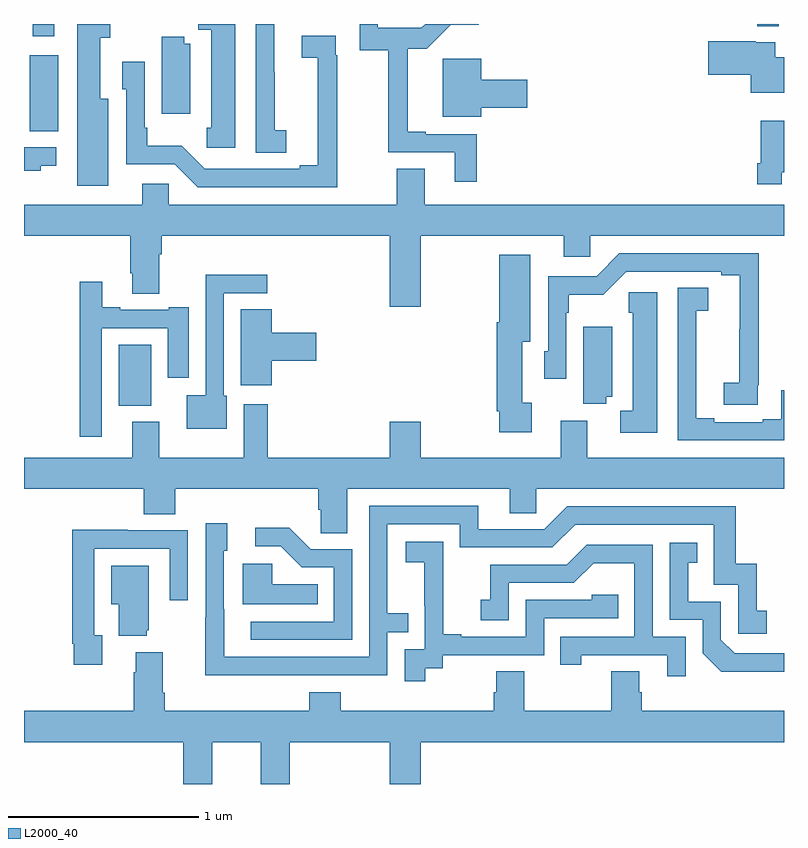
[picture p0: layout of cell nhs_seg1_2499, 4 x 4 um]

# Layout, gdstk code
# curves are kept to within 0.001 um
import gdstk
lib = gdstk.Library(unit=1e-6, precision=1e-09)
def R(c, l, rs):  # rectangles x0, y0, x1, y1
    for r in rs: c.add(gdstk.rectangle(r[:2], r[2:], *l))
def P(c, l, *ps):  # polygons
    for p in ps: c.add(gdstk.Polygon(p, *l))
L2000_40 = (2000, 40)

nhs_seg1_2499 = lib.new_cell('nhs_seg1_2499')
R(nhs_seg1_2499, L2000_40, [(247.499,532.19,247.669,532.51), (247.031,533.635,247.18,534.034), (247.046,534.135,247.159,534.199), (250.86,534.188,250.973,534.199)])
P(nhs_seg1_2499, L2000_40, [(249.383,533.619),(249.115,533.619),(249.115,533.632),(249.02,533.632),(249.02,534.069),(249.119,534.069),(249.245,534.194),(249.394,534.194),(249.394,534.199),(249.112,534.199),(249.091,534.178),(248.862,534.178),(248.862,534.199),(248.766,534.199),(248.766,534.061),(248.917,534.061),(248.917,533.523),(249.266,533.523),(249.266,533.37),(249.383,533.37)],
  [(248.38,533.641),(248.319,533.641),(248.319,533.945),(248.317,533.945),(248.317,534.199),(248.22,534.199),(248.22,533.521),(248.38,533.521)],
  [(247.444,533.806),(247.402,533.806),(247.402,534.127),(247.453,534.127),(247.453,534.199),(247.28,534.199),(247.28,533.349),(247.444,533.349)],
  [(248.113,534.199),(247.917,534.199),(247.917,534.168),(247.985,534.168),(247.985,533.652),(247.963,533.652),(247.963,533.547),(248.113,533.547)],
  [(248.648,534.035),(248.642,534.035),(248.642,534.137),(248.463,534.137),(248.463,534.022),(248.545,534.022),(248.546,533.456),(248.45,533.456),(248.45,533.436),(247.95,533.436),(247.829,533.557),(247.648,533.557),(247.648,533.653),(247.635,533.653),(247.635,534.001),(247.518,534.001),(247.518,533.856),(247.539,533.856),(247.539,533.46),(247.794,533.46),(247.914,533.34),(248.648,533.34)],
  [(247.876,534.094),(247.844,534.094),(247.844,534.131),(247.724,534.131),(247.724,533.727),(247.876,533.727)],
  [(251,534.025),(250.954,534.025),(250.954,534.103),(250.85,534.103),(250.85,534.108),(250.602,534.108),(250.602,533.933),(250.826,533.933),(250.826,533.837),(251,533.837)],
  [(249.406,533.759),(249.649,533.759),(249.649,533.906),(249.406,533.906),(249.406,534.016),(249.203,534.016),(249.203,533.711),(249.406,533.711)],
  [(250.987,533.42),(251,533.42),(251,533.689),(250.878,533.689),(250.878,533.467),(250.858,533.467),(250.858,533.355),(250.987,533.355)],
  [(247.089,533.453),(247.171,533.453),(247.171,533.55),(247,533.55),(247,533.426),(247.089,533.426)],
  [(249.088,533.084),(249.842,533.084),(249.842,532.974),(249.981,532.974),(249.981,533.084),(251,533.084),(251,533.248),(249.109,533.248),(249.109,533.438),(248.962,533.438),(248.962,533.248),(247.761,533.248),(247.761,533.358),(247.622,533.358),(247.622,533.248),(247,533.248),(247,533.084),(247.559,533.084),(247.559,532.888),(247.571,532.888),(247.571,532.78),(247.711,532.78),(247.711,532.988),(247.724,532.988),(247.724,533.084),(248.924,533.084),(248.924,532.71),(249.088,532.71)],
  [(250.862,532.297),(250.868,532.297),(250.868,532.992),(250.134,532.992),(250.014,532.872),(249.759,532.872),(249.759,532.476),(249.738,532.476),(249.738,532.332),(249.855,532.332),(249.855,532.679),(249.868,532.679),(249.868,532.775),(250.049,532.775),(250.17,532.896),(250.67,532.896),(250.67,532.876),(250.766,532.876),(250.765,532.31),(250.683,532.31),(250.683,532.195),(250.862,532.195)],
  [(249.673,532.206),(249.622,532.206),(249.622,532.526),(249.664,532.526),(249.664,532.984),(249.5,532.984),(249.5,532.63),(249.488,532.63),(249.488,532.162),(249.5,532.162),(249.5,532.05),(249.673,532.05)],
  [(248.068,532.242),(248.052,532.242),(248.052,532.782),(248.281,532.782),(248.281,532.88),(247.956,532.88),(247.956,532.246),(247.856,532.246),(247.856,532.07),(248.068,532.07)],
  [(247.41,532.599),(247.757,532.599),(247.757,532.338),(247.867,532.338),(247.867,532.708),(247.763,532.708),(247.763,532.695),(247.507,532.695),(247.507,532.708),(247.411,532.708),(247.411,532.843),(247.294,532.843),(247.294,532.026),(247.41,532.026)],
  [(251,532.271),(250.986,532.271),(250.986,532.118),(250.889,532.118),(250.889,532.104),(250.633,532.104),(250.633,532.124),(250.537,532.124),(250.537,532.387),(250.539,532.387),(250.539,532.691),(250.6,532.691),(250.6,532.811),(250.44,532.811),(250.44,532.008),(251,532.008)],
  [(250.333,532.786),(250.183,532.786),(250.183,532.68),(250.205,532.68),(250.205,532.164),(250.137,532.164),(250.137,532.049),(250.333,532.049)],
  [(248.303,532.427),(248.539,532.427),(248.539,532.574),(248.303,532.574),(248.303,532.697),(248.141,532.697),(248.141,532.299),(248.303,532.299)],
  [(250.064,532.238),(250.096,532.238),(250.096,532.606),(249.944,532.606),(249.944,532.201),(250.064,532.201)],
  [(248.701,531.752),(249.557,531.752),(249.557,531.625),(249.696,531.625),(249.696,531.752),(251,531.752),(251,531.916),(249.964,531.916),(249.964,532.111),(249.824,532.111),(249.824,531.916),(249.088,531.916),(249.088,532.105),(248.924,532.105),(248.924,531.916),(248.282,531.916),(248.282,532.198),(248.156,532.198),(248.156,531.916),(247.711,531.916),(247.711,532.105),(247.571,532.105),(247.571,531.916),(247,531.916),(247,531.752),(247.631,531.752),(247.631,531.619),(247.796,531.619),(247.796,531.752),(248.549,531.752),(248.549,531.643),(248.562,531.643),(248.562,531.52),(248.701,531.52)],
  [(248.417,530.772),(248.913,530.772),(248.913,530.997),(249.023,530.997),(249.023,531.098),(248.913,531.098),(248.913,531.567),(249.294,531.567),(249.294,531.444),(249.78,531.444),(249.9,531.564),(250.629,531.564),(250.629,531.249),(250.758,531.249),(250.758,530.991),(250.909,530.991),(250.909,531.111),(250.856,531.111),(250.856,531.358),(250.745,531.358),(250.745,531.66),(249.858,531.66),(249.738,531.54),(249.391,531.54),(249.391,531.663),(248.817,531.663),(248.817,530.868),(248.053,530.868),(248.052,531.426),(248.071,531.426),(248.071,531.571),(247.956,531.571),(247.956,531.077),(247.954,531.077),(247.954,530.771)],
  [(248.727,531.435),(248.508,531.435),(248.395,531.548),(248.217,531.548),(248.217,531.45),(248.351,531.45),(248.462,531.339),(248.631,531.339),(248.631,531.054),(248.193,531.054),(248.193,530.958),(248.727,530.958)],
  [(247.411,530.982),(247.371,530.982),(247.371,531.438),(247.767,531.438),(247.767,531.165),(247.863,531.165),(247.863,531.534),(247.547,531.534),(247.547,531.536),(247.255,531.536),(247.255,530.938),(247.263,530.938),(247.263,530.826),(247.411,530.826)],
  [(249.112,530.809),(249.204,530.809),(249.204,530.877),(249.738,530.877),(249.738,531.072),(250.127,531.072),(250.127,531.195),(249.987,531.195),(249.987,531.168),(249.642,531.168),(249.642,530.973),(249.301,530.973),(249.301,530.986),(249.206,530.986),(249.206,531.269),(249.207,531.269),(249.207,531.475),(249.009,531.475),(249.009,531.365),(249.107,531.365),(249.107,531.137),(249.108,531.137),(249.108,530.907),(249.003,530.907),(249.003,530.739),(249.112,530.739)],
  [(251,530.886),(250.74,530.886),(250.668,530.958),(250.668,531.159),(250.495,531.159),(250.495,531.363),(250.544,531.363),(250.544,531.469),(250.398,531.469),(250.398,531.063),(250.572,531.063),(250.572,530.886),(250.67,530.789),(251,530.789)],
  [(250.482,530.973),(250.308,530.973),(250.308,531.459),(249.962,531.459),(249.857,531.354),(249.454,531.354),(249.454,531.169),(249.405,531.169),(249.405,531.06),(249.552,531.06),(249.552,531.258),(249.894,531.258),(249.998,531.362),(250.212,531.362),(250.212,530.973),(249.823,530.973),(249.823,530.826),(249.934,530.826),(249.934,530.877),(250.385,530.877),(250.385,530.766),(250.482,530.766)],
  [(248.546,531.25),(248.307,531.25),(248.307,531.358),(248.15,531.358),(248.15,531.146),(248.546,531.146)],
  [(247.646,531.009),(247.657,531.009),(247.657,531.349),(247.46,531.349),(247.46,531.146),(247.499,531.146),(247.499,530.978),(247.646,530.978)],
  [(247.99,530.42),(248.246,530.42),(248.246,530.199),(248.399,530.199),(248.399,530.42),(248.924,530.42),(248.924,530.199),(249.088,530.199),(249.088,530.42),(251,530.42),(251,530.584),(250.25,530.584),(250.25,530.682),(250.237,530.682),(250.237,530.792),(250.09,530.792),(250.09,530.584),(249.633,530.584),(249.633,530.792),(249.485,530.792),(249.485,530.682),(249.473,530.682),(249.473,530.584),(248.666,530.584),(248.666,530.683),(248.501,530.683),(248.501,530.584),(247.742,530.584),(247.742,530.68),(247.729,530.68),(247.729,530.893),(247.589,530.893),(247.589,530.786),(247.577,530.786),(247.577,530.584),(247,530.584),(247,530.42),(247.838,530.42),(247.838,530.199),(247.99,530.199)])

lib.write_gds('nhs_seg1_2499.gds')
